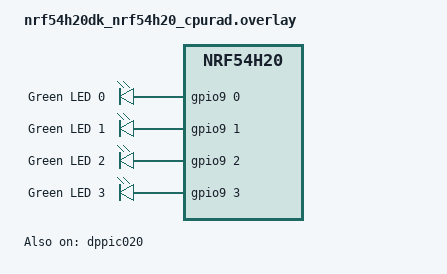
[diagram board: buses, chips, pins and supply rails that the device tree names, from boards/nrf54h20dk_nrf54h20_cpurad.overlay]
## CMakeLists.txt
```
#
# Copyright (c) 2025 Nordic Semiconductor
#
# SPDX-License-Identifier: LicenseRef-Nordic-5-Clause
#
cmake_minimum_required(VERSION 3.20.0)

find_package(Zephyr REQUIRED HINTS $ENV{ZEPHYR_BASE})
project(NONE)

# NORDIC SDK APP START
target_sources(app PRIVATE src/main.c)
target_sources_ifdef(CONFIG_ESB_SNIFFER app PRIVATE src/sniffer.c src/sniffer_shell.c)
# NORDIC SDK APP END
```

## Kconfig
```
#
# Copyright (c) 2025 Nordic Semiconductor
#
# SPDX-License-Identifier: LicenseRef-Nordic-5-Clause
#

source "Kconfig.zephyr"

menu "Enhanced ShockBurst: Monitor"

config LED_ENABLE
	bool "LED changes when receiving packets"
	default y
	help
	  Turns on led updates when receiving packets from PTX sample.

config ESB_SNIFFER
	bool "Turn sample into a functional ESB sniffer"
	select USE_SEGGER_RTT
	select SHELL
	help
	  Enable sniffer functionality with RTT backend and runtime configuration updates through UART shell.
	  Disable logging received packets through UART.

if ESB_SNIFFER
config ESB_SNIFFER_RTT_DATA_CHANNEL
	int "RTT up channel number for data transfer"
	range 0 3
	default 1

config ESB_SNIFFER_RTT_CMD_RET_CHANNEL
	int "RTT up channel number for sniffer command returns"
	range 0 3
	default 2

config ESB_SNIFFER_RTT_CMD_CHANNEL
	int "RTT down channel number for sniffer commands"
	range 0 3
	default 1

config ESB_SNIFFER_RTT_DATA_BUF_SZ
	int "RTT data buffer size"
	default 45000

config ESB_SNIFFER_RTT_CMD_RET_BUF_SZ
	int "RTT commands return buffer size"
	default 128

config ESB_SNIFFER_RTT_CMD_BUF_SZ
	int "RTT commands buffer size"
	default 128

config ESB_SNIFFER_THREAD_PRIORITY
	int "ESB sniffer thread priority"
	default 10

config ESB_SNIFFER_THREAD_STACK_SZ
	int "ESB sniffer thread stack size"
	default 1024
endif

module = ESB_MONITOR_APP
module-str = "ESB Monitor app"
source "$(ZEPHYR_BASE)/subsys/logging/Kconfig.template.log_config"

endmenu
```

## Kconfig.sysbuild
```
#
# Copyright (c) 2025 Nordic Semiconductor ASA
#
# SPDX-License-Identifier: LicenseRef-Nordic-5-Clause
#

config PARTITION_MANAGER
	default n

config NRF_DEFAULT_EMPTY
	default y if SOC_SERIES_NRF53

source "share/sysbuild/Kconfig"
```

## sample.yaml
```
sample:
  name: ESB monitor sample
common:
  harness: console
  harness_config:
    type: multi_line
    ordered: true
    regex:
      - "Enhanced ShockBurst monitor sample"
      - "Initialization complete"
      - "Start receiving packets"
  timeout: 15

tests:
  sample.esb.monitor:
    sysbuild: true
    filter: CONFIG_UART_CONSOLE and CONFIG_SERIAL_SUPPORT_INTERRUPT
    integration_platforms:
      - nrf52dk/nrf52832
      - nrf52840dk/nrf52840
      - nrf5340dk/nrf5340/cpunet
      - nrf54l15dk/nrf54l05/cpuapp
      - nrf54l15dk/nrf54l10/cpuapp
      - nrf54l15dk/nrf54l15/cpuapp
      - nrf54lm20dk/nrf54lm20a/cpuapp
      - nrf54ls05dk/nrf54ls05a/cpuapp
      - nrf54lc10dk/nrf54lc10a/cpuapp
    platform_allow:
      - nrf52dk/nrf52832
      - nrf52840dk/nrf52840
      - nrf5340dk/nrf5340/cpunet
      - nrf54l15dk/nrf54l05/cpuapp
      - nrf54l15dk/nrf54l10/cpuapp
      - nrf54l15dk/nrf54l15/cpuapp
      - nrf54lm20dk/nrf54lm20a/cpuapp
      - nrf54lm20dk/nrf54lm20b/cpuapp
      - nrf54ls05dk/nrf54ls05a/cpuapp
      - nrf54ls05dk/nrf54ls05b/cpuapp
      - nrf54lc10dk/nrf54lc10a/cpuapp
      - nrf54lc10dk/nrf54lc10a/cpuapp/ns
    tags:
      - esb
      - samples
      - console
      - sysbuild
      - ci_samples_esb
  sample.esb.monitor.dynamic_irq:
    sysbuild: true
    extra_configs:
      - CONFIG_ESB_DYNAMIC_INTERRUPTS=y
      - CONFIG_DYNAMIC_INTERRUPTS=y
      - CONFIG_DYNAMIC_DIRECT_INTERRUPTS=y
      - CONFIG_MPSL_DYNAMIC_INTERRUPTS=y
    integration_platforms:
      - nrf5340dk/nrf5340/cpunet
      - nrf52840dk/nrf52840
      - nrf54l15dk/nrf54l05/cpuapp
      - nrf54l15dk/nrf54l10/cpuapp
      - nrf54l15dk/nrf54l15/cpuapp
      - nrf54lm20dk/nrf54lm20a/cpuapp
      - nrf54ls05dk/nrf54ls05a/cpuapp
      - nrf54lc10dk/nrf54lc10a/cpuapp
    platform_allow:
      - nrf5340dk/nrf5340/cpunet
      - nrf52840dk/nrf52840
      - nrf54l15dk/nrf54l05/cpuapp
      - nrf54l15dk/nrf54l10/cpuapp
      - nrf54l15dk/nrf54l15/cpuapp
      - nrf54lm20dk/nrf54lm20a/cpuapp
      - nrf54lm20dk/nrf54lm20b/cpuapp
      - nrf54ls05dk/nrf54ls05a/cpuapp
      - nrf54ls05dk/nrf54ls05b/cpuapp
      - nrf54lc10dk/nrf54lc10a/cpuapp
      - nrf54lc10dk/nrf54lc10a/cpuapp/ns
    tags:
      - esb
      - ci_build
      - sysbuild
      - ci_samples_esb
```

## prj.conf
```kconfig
#
# Copyright (c) 2025 Nordic Semiconductor ASA
#
# SPDX-License-Identifier: LicenseRef-Nordic-5-Clause
#
CONFIG_NCS_SAMPLES_DEFAULTS=y
CONFIG_ESB=y
CONFIG_DK_LIBRARY=y
CONFIG_CLOCK_CONTROL=y
```

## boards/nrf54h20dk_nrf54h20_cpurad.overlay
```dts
/*
 * Copyright (c) 2025 Nordic Semiconductor ASA
 *
 * SPDX-License-Identifier: LicenseRef-Nordic-5-Clause
 */

/ {
	leds {
		compatible = "gpio-leds";

		led0: led_0 {
			gpios = < &gpio9 0 GPIO_ACTIVE_HIGH >;
			label = "Green LED 0";
		};

		led1: led_1 {
			gpios = < &gpio9 1 GPIO_ACTIVE_HIGH >;
			label = "Green LED 1";
		};

		led2: led_2 {
			gpios = < &gpio9 2 GPIO_ACTIVE_HIGH >;
			label = "Green LED 2";
		};

		led3: led_3 {
			gpios = < &gpio9 3 GPIO_ACTIVE_HIGH >;
			label = "Green LED 3";
		};
	};

	aliases {
		led0 = &led0;
		led1 = &led1;
		led2 = &led2;
		led3 = &led3;
	};

	cpurad_cpusys_errata216_mboxes: errata216_mboxes {
		compatible = "zephyr,mbox-ipm";
		status = "okay";
		mboxes = < &cpusys_vevif 0x14 >, < &cpusys_vevif 0x15 >;
		mbox-names = "on_req", "off_req";
	};
};

&gpio9 {
	status = "okay";
};

&gpio0 {
	status = "okay";
};

&gpiote130 {
	owned-channels = <0 1 2 3 4 5 6 7>;
	status = "okay";
};

&dppic020 {
	status = "okay";
	source-channels = < 0 1 2 3 4 5 >;
	sink-channels = < 6 7 8 9 10 11 >;
};
```

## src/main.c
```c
/*
 * Copyright (c) 2025 Nordic Semiconductor ASA
 *
 * SPDX-License-Identifier: LicenseRef-Nordic-5-Clause
 */
#include <zephyr/devicetree.h>
#include <zephyr/logging/log.h>
#include <esb.h>
#include <zephyr/kernel.h>
#include <zephyr/types.h>
#include <dk_buttons_and_leds.h>
#if defined(CONFIG_ESB_SNIFFER)
#include <zephyr/sys/byteorder.h>
#include <SEGGER_RTT.h>
#include "sniffer.h"
#endif /* defined(CONFIG_ESB_SNIFFER) */

LOG_MODULE_REGISTER(esb_monitor, CONFIG_ESB_MONITOR_APP_LOG_LEVEL);

#if defined(CONFIG_ESB_SNIFFER)
static struct rtt_frame packet;
#else
static struct esb_payload rx_payload;
#endif /* defined(CONFIG_ESB_SNIFFER) */

#if defined(CONFIG_LED_ENABLE) && !defined(CONFIG_ESB_SNIFFER)
static void leds_update(uint8_t value)
{
	uint32_t leds_mask =
		(!(value % 8 > 0 && value % 8 <= 4) ? DK_LED1_MSK : 0) |
		(!(value % 8 > 1 && value % 8 <= 5) ? DK_LED2_MSK : 0) |
		(!(value % 8 > 2 && value % 8 <= 6) ? DK_LED3_MSK : 0) |
		(!(value % 8 > 3) ? DK_LED4_MSK : 0);

	dk_set_leds(leds_mask);
}
#endif /* defined(CONFIG_LED_ENABLE) && !defined(CONFIG_ESB_SNIFFER) */

#if defined(CONFIG_ESB_SNIFFER)
static void log_packet(void)
{
	uint32_t cycles, ms, len;

	cycles = k_cycle_get_32();
	ms = k_cyc_to_ms_floor32(cycles);
	/* Calculate remaing cycles */
	cycles = cycles - (ms * (CONFIG_SYS_CLOCK_HW_CYCLES_PER_SEC / 1000));

	/* htonl */
	packet.us = sys_cpu_to_be32(k_cyc_to_us_floor32(cycles));
	packet.ms = sys_cpu_to_be32(ms);

	SEGGER_RTT_LOCK();
	len = SEGGER_RTT_WriteNoLock(CONFIG_ESB_SNIFFER_RTT_DATA_CHANNEL,
					&packet, sizeof(struct rtt_frame));
	SEGGER_RTT_UNLOCK();
	if (len < sizeof(struct rtt_frame)) {
		LOG_ERR("RTT failed to write, rtt buffer too small");
	}
}
#else
static void log_packet(void)
{
	LOG_INF("%u: length = %d, pipe = %d, rssi = %d, noack = %d, pid = %d",
				k_cyc_to_ms_floor32(k_cycle_get_32()), rx_payload.length,
				rx_payload.pipe, rx_payload.rssi, rx_payload.noack, rx_payload.pid);

	LOG_HEXDUMP_INF(rx_payload.data, rx_payload.length, "data:");
	LOG_INF("--------------------------------------------------------------");
}
#endif /* !defined(CONFIG_ESB_SNIFFER) */

void event_handler(struct esb_evt const *event)
{
	switch (event->evt_id) {
	case ESB_EVENT_RX_RECEIVED:
#if defined(CONFIG_ESB_SNIFFER)
		struct esb_payload *payload = &packet.payload;
#else
		struct esb_payload *payload = &rx_payload;
#endif /* !defined(CONFIG_ESB_SNIFFER) */
		int err;

		while ((err = esb_read_rx_payload(payload)) == 0) {
			log_packet();

#if defined(CONFIG_LED_ENABLE) && !defined(CONFIG_ESB_SNIFFER)
			leds_update(rx_payload.data[1]);
#endif /* defined(CONFIG_LED_ENABLE) && !defined(CONFIG_ESB_SNIFFER) */
		}
		if (err && err != -ENODATA) {
			LOG_ERR("Error while reading rx packet");
		}
		break;
	default:
		/* Should never happen */
		LOG_ERR("Unexpected ESB event");
	}
}

int esb_initialize(void)
{
	int err;
	/* These are arbitrary default addresses. In end user products
	 * different addresses should be used for each set of devices.
	 */
	uint8_t base_addr_0[4] = {0xE7, 0xE7, 0xE7, 0xE7};
	uint8_t base_addr_1[4] = {0xC2, 0xC2, 0xC2, 0xC2};
	uint8_t addr_prefix[8] = {0xE7, 0xC2, 0xC3, 0xC4, 0xC5, 0xC6, 0xC7, 0xC8};

	struct esb_config config = ESB_DEFAULT_CONFIG;

	config.protocol = ESB_PROTOCOL_ESB_DPL;
	config.bitrate = ESB_BITRATE_2MBPS;
	config.mode = ESB_MODE_MONITOR;
	config.event_handler = event_handler;
	config.use_fast_ramp_up = true;

	err = esb_init(&config);
	if (err) {
		return err;
	}

	err = esb_set_base_address_0(base_addr_0);
	if (err) {
		return err;
	}

	err = esb_set_base_address_1(base_addr_1);
	if (err) {
		return err;
	}

	err = esb_set_prefixes(addr_prefix, ARRAY_SIZE(addr_prefix));
	if (err) {
		return err;
	}

	return 0;
}

int main(void)
{
	int err;

	LOG_INF("Enhanced ShockBurst monitor sample");

	err = dk_leds_init();
	if (err) {
		LOG_ERR("LEDs initialization failed, err %d", err);
		return 0;
	}

	err = esb_initialize();
	if (err) {
		LOG_ERR("ESB initialization failed, err %d", err);
		return 0;
	}

	LOG_INF("Initialization complete");

#if defined(CONFIG_ESB_SNIFFER)
	err = sniffer_init();
	if (err) {
		LOG_ERR("Sniffer initialization failed, err %d", err);
		return 0;
	}
#else
	err = esb_start_rx();
	if (err) {
		LOG_ERR("ESB start monitor failed, err %d", err);
		return 0;
	}

	LOG_INF("Start receiving packets");
#endif /* !defined(CONFIG_ESB_SNIFFER) */

	/* return to idle thread */
	return 0;
}
```

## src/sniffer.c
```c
/*
 * Copyright (c) 2025 Nordic Semiconductor ASA
 *
 * SPDX-License-Identifier: LicenseRef-Nordic-5-Clause
 */
#include <zephyr/sys/byteorder.h>
#include <zephyr/logging/log.h>
#include <zephyr/kernel.h>
#include <zephyr/types.h>

#include <hal/nrf_radio.h>
#include <esb.h>

#include <SEGGER_RTT.h>

#include "sniffer.h"

LOG_MODULE_REGISTER(esb_sniffer, CONFIG_ESB_MONITOR_APP_LOG_LEVEL);

static uint8_t rtt_data_buff[CONFIG_ESB_SNIFFER_RTT_DATA_BUF_SZ];
static uint8_t rtt_comm_ret_buff[CONFIG_ESB_SNIFFER_RTT_CMD_RET_BUF_SZ];
static uint8_t rtt_comm_buff[CONFIG_ESB_SNIFFER_RTT_CMD_BUF_SZ];

static k_tid_t rtt_comm_thread_id;
static K_THREAD_STACK_DEFINE(rtt_comm_thread_stack, CONFIG_ESB_SNIFFER_THREAD_STACK_SZ);
static struct k_thread rtt_comm_thread;

static struct esb_sniffer_cfg sniffer_cfg;

enum esb_sniffer_rtt_comm {
	SNIFFER_START  = 1,
	SNIFFER_STOP   = 2,
	SNIFFER_STATUS = 3
};

/**
 * @brief Convert radio register value into array
 *
 * This function takes value of address or prefix register and converts it
 * into human readable array containing currently configured address or prefix
 *
 * @param reg value from base_addr0 or base_addr1 or prefix0 or prefix1 register
 * @param array pointer to destination of the converted value
 */
static void radio_reg_to_array(uint32_t reg, uint8_t *array)
{
#if __CORTEX_M == (0x04U)
	uint32_t inp = reg;

	*((uint32_t *)array) = sys_cpu_to_be32((uint32_t)__RBIT(inp));
#else
	uint32_t inp = sys_cpu_to_le32(reg);

	/* bytewise bit-swap */
	inp = (inp & 0xF0F0F0F0) >> 4 | (inp & 0x0F0F0F0F) << 4;
	inp = (inp & 0xCCCCCCCC) >> 2 | (inp & 0x33333333) << 2;
	inp = (inp & 0xAAAAAAAA) >> 1 | (inp & 0x55555555) << 1;
	memcpy(array, &inp, sizeof(uint32_t));
#endif
}

static void rtt_comm_exec(enum esb_sniffer_rtt_comm command)
{
	int err;

	switch (command) {
	case SNIFFER_START:
		LOG_INF("Start sniffer");
		if (!sniffer_cfg.is_running) {
			err = esb_start_rx();
		} else {
			err = 0;
		}

		if (err != 0) {
			LOG_ERR("Failed to start sniffer, err: %d", err);
		} else {
			sniffer_cfg.is_running = true;
		}

		SEGGER_RTT_Write(CONFIG_ESB_SNIFFER_RTT_CMD_RET_CHANNEL,
								&err, sizeof(int));
		break;
	case SNIFFER_STOP:
		LOG_INF("Stop sniffer");
		if (sniffer_cfg.is_running) {
			err = esb_stop_rx();
		} else {
			err = 0;
		}

		if (err != 0) {
			LOG_ERR("Failed to stop sniffer, err: %d", err);
		} else {
			sniffer_cfg.is_running = false;
		}

		SEGGER_RTT_Write(CONFIG_ESB_SNIFFER_RTT_CMD_RET_CHANNEL,
								&err, sizeof(int));
		break;
	case SNIFFER_STATUS:
		err = sniffer_cfg.is_running;
		SEGGER_RTT_Write(CONFIG_ESB_SNIFFER_RTT_CMD_RET_CHANNEL,
								&err, sizeof(int));
		break;
	default:
		LOG_ERR("Unrecognized rtt command: %d", command);
	}
}

static void rtt_comm_thread_fn(void)
{
	enum esb_sniffer_rtt_comm comm;
	uint32_t read_len;

	/* Send packet length to backend */
	read_len = sizeof(struct rtt_frame);
	read_len = sys_cpu_to_be32(read_len);

	SEGGER_RTT_Write(CONFIG_ESB_SNIFFER_RTT_CMD_RET_CHANNEL,
						&read_len, sizeof(uint32_t));
	while (1) {
		read_len = SEGGER_RTT_Read(CONFIG_ESB_SNIFFER_RTT_CMD_CHANNEL,
						&comm, sizeof(enum esb_sniffer_rtt_comm));
		if (read_len == sizeof(enum esb_sniffer_rtt_comm)) {
			rtt_comm_exec(comm);
		}

		k_sleep(K_MSEC(500));
	}
}

int sniffer_init(void)
{
	int err;

	BUILD_ASSERT(
		CONFIG_ESB_SNIFFER_RTT_DATA_CHANNEL != CONFIG_ESB_SNIFFER_RTT_CMD_RET_CHANNEL,
		"RTT channels with the same direction must have different indexes!"
	);

	err = SEGGER_RTT_ConfigUpBuffer(CONFIG_ESB_SNIFFER_RTT_DATA_CHANNEL,
					"Data", rtt_data_buff,
					CONFIG_ESB_SNIFFER_RTT_DATA_BUF_SZ,
					SEGGER_RTT_MODE_NO_BLOCK_SKIP);
	if (err < 0) {
		LOG_ERR("RTT initialization failed");
		return err;
	}

	err = SEGGER_RTT_ConfigUpBuffer(CONFIG_ESB_SNIFFER_RTT_CMD_RET_CHANNEL,
					 "Comm_ret", rtt_comm_ret_buff,
					 CONFIG_ESB_SNIFFER_RTT_CMD_RET_BUF_SZ,
					 SEGGER_RTT_MODE_NO_BLOCK_SKIP);
	if (err < 0) {
		LOG_ERR("RTT initialization failed");
		return err;
	}

	err = SEGGER_RTT_ConfigDownBuffer(CONFIG_ESB_SNIFFER_RTT_CMD_CHANNEL,
					   "Commands", rtt_comm_buff,
					   CONFIG_ESB_SNIFFER_RTT_CMD_BUF_SZ,
					   SEGGER_RTT_MODE_NO_BLOCK_SKIP);
	if (err < 0) {
		LOG_ERR("RTT initialization failed");
		return err;
	}

	/* Setup sniffer_cfg from already initialized ESB */
	sniffer_cfg.enabled_pipes = 0xFF;
	sniffer_cfg.bitrate = (enum esb_bitrate)nrf_radio_mode_get(NRF_RADIO);
	sniffer_cfg.is_running = false;

	radio_reg_to_array(nrf_radio_base0_get(NRF_RADIO), sniffer_cfg.base_addr0);
	radio_reg_to_array(nrf_radio_base1_get(NRF_RADIO), sniffer_cfg.base_addr1);
	radio_reg_to_array(nrf_radio_prefix0_get(NRF_RADIO), sniffer_cfg.pipe_prefix);
	radio_reg_to_array(nrf_radio_prefix1_get(NRF_RADIO), &sniffer_cfg.pipe_prefix[4]);

	rtt_comm_thread_id = k_thread_create(&rtt_comm_thread,
				rtt_comm_thread_stack,
				CONFIG_ESB_SNIFFER_THREAD_STACK_SZ,
				(k_thread_entry_t)rtt_comm_thread_fn,
				NULL, NULL, NULL,
				CONFIG_ESB_SNIFFER_THREAD_PRIORITY, 0, K_NO_WAIT);

	sniffer_shell_init(&sniffer_cfg);

	return 0;
}
```

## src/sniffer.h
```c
/*
 * Copyright (c) 2025 Nordic Semiconductor ASA
 *
 * SPDX-License-Identifier: LicenseRef-Nordic-5-Clause
 */
#ifndef __ESB_SNIFFER_H
#define __ESB_SNIFFER_H

#include <esb.h>

#ifdef __cplusplus
extern "C" {
#endif

struct esb_sniffer_cfg {
	uint8_t base_addr0[4];
	uint8_t base_addr1[4];
	uint8_t pipe_prefix[8];
	uint8_t enabled_pipes;
	enum esb_bitrate bitrate;
	bool is_running;
};

struct rtt_frame {
	uint32_t ms;
	uint32_t us;
	struct esb_payload payload;
} __packed;

int sniffer_init(void);
void sniffer_shell_init(struct esb_sniffer_cfg *sniffer_cfg);

#ifdef __cplusplus
}
#endif

#endif /* __ESB_SNIFFER_H  */
```
